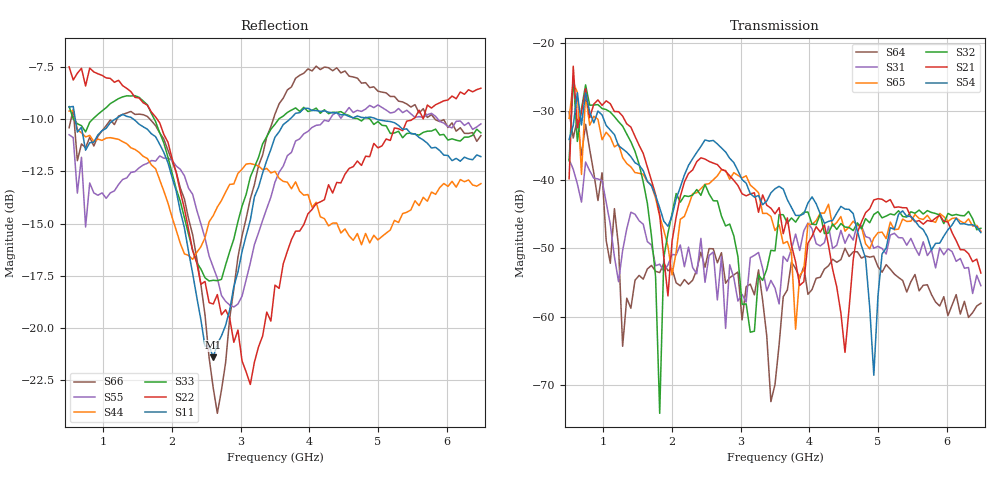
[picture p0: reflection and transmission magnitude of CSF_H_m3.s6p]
!Keysight Technologies,M9804A,MY58100912,A.14.10.03
!Date: Thursday, April 27, 2023 10:28:33
!Correction: S11(C  6-Port  )
!S12(C  6-Port  )
!S13(C  6-Port  )
!S14(C  6-Port  )
!S15(C  6-Port  )
!S16(C  6-Port  )
!S21(C  6-Port  )
!S22(C  6-Port  )
!S23(C  6-Port  )
!S24(C  6-Port  )
!S25(C  6-Port  )
!S26(C  6-Port  )
!S31(C  6-Port  )
!S32(C  6-Port  )
!S33(C  6-Port  )
!S34(C  6-Port  )
!S35(C  6-Port  )
!S36(C  6-Port  )
!S41(C  6-Port  )
!S42(C  6-Port  )
!S43(C  6-Port  )
!S44(C  6-Port  )
!S45(C  6-Port  )
!S46(C  6-Port  )
!S51(C  6-Port  )
!S52(C  6-Port  )
!S53(C  6-Port  )
!S54(C  6-Port  )
!S55(C  6-Port  )
!S56(C  6-Port  )
!S61(C  6-Port  )
!S62(C  6-Port  )
!S63(C  6-Port  )
!S64(C  6-Port  )
!S65(C  6-Port  )
!S66(C  6-Port  )
!S6P File: Measurement: :
# Hz S  RI  R 50
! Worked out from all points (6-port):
!   101 points, 500 MHz to 6.5 GHz, reference 50 ohm
!   strongest paths, dB at 500 MHz, 2 GHz, 3.5 GHz, 5 GHz, 6.5 GHz:
!     S54: -34.1, -45.3, -41.3, -57.0, -47.7
!     S21: -39.9, -49.0, -45.0, -42.8, -53.6
!     S32: -37.2, -44.9, -50.4, -44.7, -47.1
!     S65: -31.0, -53.9, -47.4, -47.7, -47.5
!     S31: -37.0, -50.9, -55.8, -49.7, -55.5
!     S64: -30.1, -53.0, -69.9, -52.7, -58.1
!   lowest |S11| = -21.4 dB at 2.6 GHz (marker M1), VSWR 1.19, Z = 42.4 + j2.2 ohm
!   |S11| at or under -10 dB: 589.8 MHz to 1.17 GHz (580.6 MHz wide, 66 % of centre); 1.437 GHz to 3.716 GHz (2.279 GHz wide, 88.4 % of centre); 4.983 GHz to end of sweep
